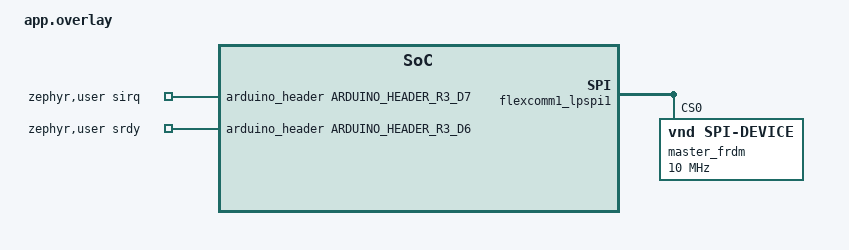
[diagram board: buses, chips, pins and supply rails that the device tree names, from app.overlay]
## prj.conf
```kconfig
CONFIG_SPI=y
CONFIG_MAIN_STACK_SIZE=8192
CONFIG_SPI_NXP_LPSPI=y
CONFIG_SPI_NXP_LPSPI_DMA=n
CONFIG_SPI_ASYNC=n
CONFIG_GPIO=y
CONFIG_HEAP_MEM_POOL_SIZE=2048
CONFIG_PRINTK=y
CONFIG_CRC=y
```

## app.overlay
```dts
&flexcomm1_lpspi1 {
	transfer-delay = <100>;
	sck-pcs-delay = <200>;
	pcs-sck-delay = <200>;
	master_frdm: master_frdm@0 {
		compatible = "vnd,spi-device";
		reg = <0>;
		spi-max-frequency = <10000000>;
		label = "master_frdm";
	};
};

&flexcomm1 {
	interrupts = <36 1>;
};

/ {
	zephyr,user {
		sirq-gpios = <&arduino_header ARDUINO_HEADER_R3_D7 GPIO_ACTIVE_HIGH>;
		srdy-gpios = <&arduino_header ARDUINO_HEADER_R3_D6 GPIO_ACTIVE_HIGH>;
	};
};
```

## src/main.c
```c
#include <zephyr/kernel.h>
#include <zephyr/drivers/spi.h>
#include <zephyr/drivers/gpio.h>
#include <zephyr/sys/crc.h>
#include <string.h>

// Must match slave's CONFIG_MAX_SPI2C_TRANSACTION_SIZE
#define MAX_TRANSACTION_SIZE 256

#define CRC8_POLYNOMIAL 0x07

// spi2c commands
#define SPI2C_REG_READ  0
#define SPI2C_REG_WRITE 1

// Register indices
#define SYS_GRB_REG      0
#define SYS_DRIVER_REG   1
#define TEMP_SENSOR_REG  2  // SYS_REGISTER_AMT + first custom dev

// Driver status register flags
#define DRIVER_REG_UNINIT       (1 << 0)
#define DRIVER_REG_INIT         (1 << 1)
#define DRIVER_REG_SOFT_FAILURE (1 << 2)
#define DRIVER_REG_HARD_FAILURE (1 << 3)
#define DRIVER_REG_GPIO_ERROR   (1 << 4)
#define DRIVER_REG_DEVICE_ERROR (1 << 5)

// Mirror the slave packet structs (must match wire layout)
struct spi2c_packet_in {
	uint8_t crc8;
	uint8_t cmd;
	uint8_t reg;
	size_t size;
	uint8_t data[];
};

struct spi2c_packet_out {
	uint8_t flag;
	size_t size;
	uint8_t data[];
};

#define SPI_OP (SPI_OP_MODE_MASTER | SPI_MODE_CPOL | SPI_MODE_CPHA | \
                SPI_WORD_SET(8) | SPI_TRANSFER_MSB | SPI_LINES_SINGLE)

static const struct spi_dt_spec master_dev =
    SPI_DT_SPEC_GET(DT_NODELABEL(master_frdm), SPI_OP);

static const struct gpio_dt_spec sirq_pin =
    GPIO_DT_SPEC_GET(DT_PATH(zephyr_user), sirq_gpios);
static const struct gpio_dt_spec srdy_pin =
    GPIO_DT_SPEC_GET(DT_PATH(zephyr_user), srdy_gpios);

static struct k_sem sirq_sem;
static struct k_sem srdy_sem;

static void sirq_callback(const struct device *dev, struct gpio_callback *cb, uint32_t pins) {
	k_sem_give(&sirq_sem);
}

static void srdy_callback(const struct device *dev, struct gpio_callback *cb, uint32_t pins) {
	k_sem_give(&srdy_sem);
}

static void init_buffer(struct spi_buf_set *buf_set, struct spi_buf *buf,
                        size_t len, void *data) {
	buf->buf = data;
	buf->len = len;
	buf_set->buffers = buf;
	buf_set->count = 1;
}

static void wait_for_srdy(void) {
	k_sem_take(&srdy_sem, K_FOREVER);
}

static void spi_transact(uint8_t *tx_buf, uint8_t *rx_buf, size_t tx_size, size_t rx_size) {
	struct spi_buf_set tx_set, rx_set;
	struct spi_buf tx, rx;
	init_buffer(&tx_set, &tx, MAX_TRANSACTION_SIZE, tx_buf);
	init_buffer(&rx_set, &rx, MAX_TRANSACTION_SIZE, rx_buf);
	wait_for_srdy();
	spi_transceive_dt(&master_dev, &tx_set, &rx_set);
}

static void build_packet(uint8_t *buf, uint8_t cmd, uint8_t reg,
                          uint8_t *data, size_t data_size) {
	memset(buf, 0, MAX_TRANSACTION_SIZE);
	struct spi2c_packet_in *pkt = (struct spi2c_packet_in *)buf;
	pkt->cmd = cmd;
	pkt->reg = reg;
	pkt->size = data_size;
	if (data != NULL && data_size > 0) {
		memcpy(pkt->data, data, data_size);
	}
	size_t crc_len = sizeof(pkt->cmd) + sizeof(pkt->reg) +
	                 sizeof(pkt->size) + data_size;
	pkt->crc8 = crc8((uint8_t *)&pkt->cmd, crc_len, CRC8_POLYNOMIAL, 0x00, false);
}

static void wait_for_sirq(void) {
	// If SIRQ is already active (level-driven), we may have missed the edge
	if (gpio_pin_get_dt(&sirq_pin) == 1) {
		return;
	}
	k_sem_take(&sirq_sem, K_FOREVER);
}

static void read_register(uint8_t *tx_buf, uint8_t *rx_buf,
                           uint8_t reg, size_t read_size,
                           struct spi2c_packet_out **out) {
	// Send READ command
	build_packet(tx_buf, SPI2C_REG_READ, reg, NULL, read_size);
	spi_transact(tx_buf, rx_buf, MAX_TRANSACTION_SIZE, MAX_TRANSACTION_SIZE);
	// Fetch response — send 0xFF in crc8 field so slave drops this as invalid
	memset(tx_buf, 0, MAX_TRANSACTION_SIZE);
	tx_buf[0] = 0xFF;
	size_t receive_size = read_size + sizeof(struct spi2c_packet_out);
	spi_transact(tx_buf, rx_buf, receive_size, receive_size);
	*out = (struct spi2c_packet_out *)rx_buf;
}

int main(void) {
	uint8_t tx_buf[MAX_TRANSACTION_SIZE];
	uint8_t rx_buf[MAX_TRANSACTION_SIZE];
	printk("master packet_in size: %d\n", sizeof(struct spi2c_packet_in));

	k_sem_init(&sirq_sem, 0, 1);
	k_sem_init(&srdy_sem, 0, 1);
	if (!spi_is_ready_dt(&master_dev)) {
		printk("SPI device not ready\n");
		return 0;
	}

	// SIRQ: input with edge interrupt (slave signals data available)
	gpio_pin_configure_dt(&sirq_pin, GPIO_INPUT);
	gpio_pin_interrupt_configure_dt(&sirq_pin, GPIO_INT_EDGE_TO_ACTIVE);
	static struct gpio_callback sirq_cb_data;
	gpio_init_callback(&sirq_cb_data, sirq_callback, BIT(sirq_pin.pin));
	gpio_add_callback(sirq_pin.port, &sirq_cb_data);

	// SRDY: input (slave signals ready for SPI transaction)
	gpio_pin_configure_dt(&srdy_pin, GPIO_INPUT);
	gpio_pin_interrupt_configure_dt(&srdy_pin, GPIO_INT_EDGE_TO_ACTIVE);
	static struct gpio_callback srdy_cb_data;
	gpio_init_callback(&srdy_cb_data, srdy_callback, BIT(srdy_pin.pin));
	gpio_add_callback(srdy_pin.port, &srdy_cb_data);

	// Give slave time to boot before checking GPIOs
	printk("Waiting for slave to boot...\n");
	k_msleep(3000);

	// Clear any stale semaphore from during boot
	k_sem_reset(&sirq_sem);

	// Wait for slave's init SIRQ (driver status notification)
	printk("Waiting for SIRQ (sirq=%d, srdy=%d)...\n",
	       gpio_pin_get_dt(&sirq_pin), gpio_pin_get_dt(&srdy_pin));
	wait_for_sirq();
	printk("SIRQ received, reading driver status...\n");

	// Read the driver status register (reg 1)
	struct spi2c_packet_out *resp;
	read_register(tx_buf, rx_buf, SYS_DRIVER_REG, sizeof(uint8_t), &resp);

	if (resp->size == sizeof(uint8_t)) {
		uint8_t status = resp->data[0];
		printk("Driver status: 0x%02X\n", status);
		if (status & DRIVER_REG_INIT) {
			printk("  INIT: driver ready\n");
		}
		if (status & DRIVER_REG_UNINIT) {
			printk("  UNINIT: driver not initialized\n");
		}
		if (status & DRIVER_REG_GPIO_ERROR) {
			printk("  GPIO ERROR\n");
		}
		if (status & DRIVER_REG_DEVICE_ERROR) {
			printk("  DEVICE ERROR\n");
		}
		if (status & DRIVER_REG_HARD_FAILURE) {
			printk("  HARD FAILURE\n");
		}
	} else {
		printk("Failed to read driver status: flag=0x%02X size=%u\n",
		       resp->flag, (unsigned)resp->size);
	}

	// Main loop: trigger temp reading, wait for result, print it
	for (;;) {
		// 1) Write to temp sensor register to trigger a reading
		build_packet(tx_buf, SPI2C_REG_WRITE, TEMP_SENSOR_REG, NULL, 0);
		spi_transact(tx_buf, rx_buf, MAX_TRANSACTION_SIZE, MAX_TRANSACTION_SIZE);

		// 2) Wait for SIRQ (slave notifies temp data is ready)
		wait_for_sirq();

		// 3) Read the temp register
		read_register(tx_buf, rx_buf, TEMP_SENSOR_REG, sizeof(uint32_t), &resp);

		if (resp->size == sizeof(uint32_t)) {
			uint32_t temp;
			memcpy(&temp, resp->data, sizeof(uint32_t));
			printk("Temperature: %u C\n", temp);
		} else {
			printk("Read error: flag=0x%02X size=%u\n",
			       resp->flag, (unsigned)resp->size);
		}

		//k_msleep(100);
	}
	return 0;
}
```
